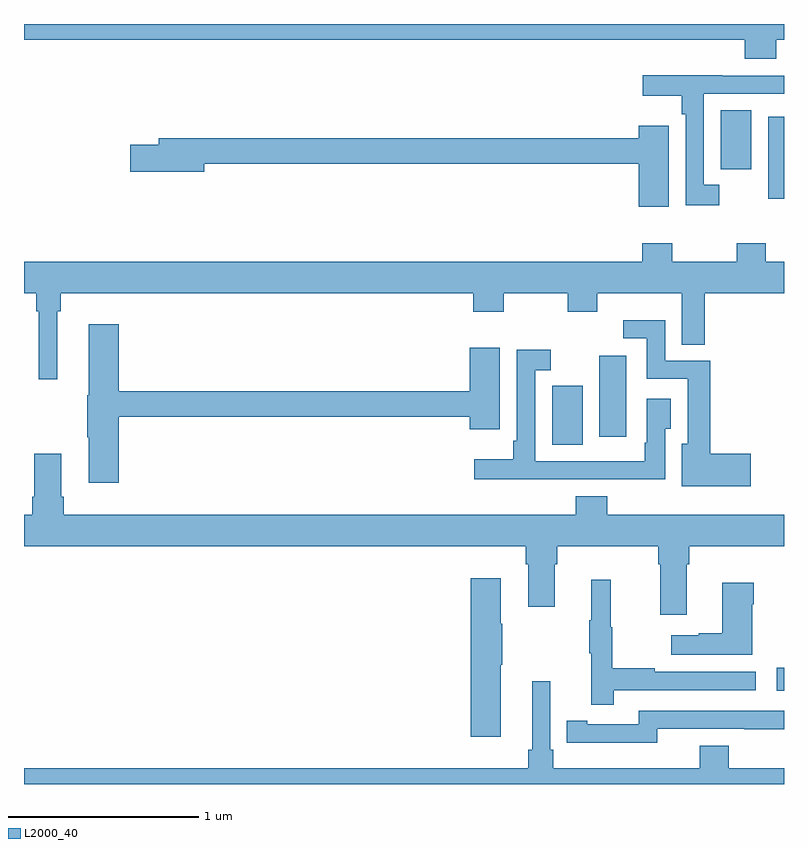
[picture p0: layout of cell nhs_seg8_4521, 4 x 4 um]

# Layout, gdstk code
import gdstk
lib = gdstk.Library(unit=1e-6, precision=1e-09)
def R(c, l, rs):  # rectangles x0, y0, x1, y1
    for r in rs: c.add(gdstk.rectangle(r[:2], r[2:], *l))
def P(c, l, *ps):  # polygons
    for p in ps: c.add(gdstk.Polygon(p, *l))
L2000_40 = (2000, 40)

nhs_seg8_4521 = lib.new_cell('nhs_seg8_4521')
R(nhs_seg8_4521, L2000_40, [(388.962,1130.391,389,1130.511), (387.779,1131.685,387.94,1131.996), (388.028,1131.728,388.171,1132.153), (388.916,1132.98,389,1133.413), (388.667,1133.136,388.828,1133.447)])
P(nhs_seg8_4521, L2000_40, [(388.958,1133.816),(389,1133.816),(389,1133.9),(385,1133.9),(385,1133.816),(388.793,1133.816),(388.793,1133.717),(388.958,1133.717)],
  [(388.66,1133.055),(388.578,1133.055),(388.578,1133.532),(389,1133.532),(389,1133.628),(388.675,1133.628),(388.675,1133.63),(388.257,1133.63),(388.257,1133.522),(388.462,1133.522),(388.462,1133.426),(388.482,1133.426),(388.482,1132.947),(388.66,1132.947)],
  [(388.393,1133.365),(388.235,1133.365),(388.235,1133.3),(385.709,1133.3),(385.709,1133.264),(385.56,1133.264),(385.56,1133.122),(385.948,1133.122),(385.948,1133.164),(388.235,1133.164),(388.235,1132.938),(388.393,1132.938)],
  [(385.174,1132.388),(385.193,1132.388),(385.193,1132.484),(387.365,1132.484),(387.365,1132.385),(387.525,1132.385),(387.525,1132.484),(387.862,1132.484),(387.862,1132.385),(388.017,1132.385),(388.017,1132.484),(388.463,1132.484),(388.463,1132.213),(388.582,1132.213),(388.582,1132.484),(389,1132.484),(389,1132.648),(388.905,1132.648),(388.905,1132.747),(388.75,1132.747),(388.75,1132.648),(388.413,1132.648),(388.413,1132.747),(388.253,1132.747),(388.253,1132.648),(385,1132.648),(385,1132.484),(385.064,1132.484),(385.064,1132.388),(385.077,1132.388),(385.077,1132.029),(385.174,1132.029)],
  [(388.825,1131.638),(388.612,1131.638),(388.612,1132.128),(388.374,1132.128),(388.374,1132.342),(388.155,1132.342),(388.155,1132.245),(388.278,1132.245),(388.278,1132.032),(388.493,1132.032),(388.493,1131.691),(388.463,1131.691),(388.463,1131.467),(388.825,1131.467)],
  [(385.499,1131.832),(387.347,1131.832),(387.347,1131.768),(387.505,1131.768),(387.505,1132.195),(387.347,1132.195),(387.347,1131.968),(385.499,1131.968),(385.499,1132.321),(385.34,1132.321),(385.34,1131.945),(385.333,1131.945),(385.333,1131.724),(385.34,1131.724),(385.34,1131.486),(385.499,1131.486)],
  [(387.787,1131.504),(388.153,1131.504),(388.153,1131.503),(388.374,1131.503),(388.374,1131.769),(388.405,1131.769),(388.405,1131.928),(388.278,1131.928),(388.278,1131.697),(388.266,1131.697),(388.266,1131.6),(387.69,1131.6),(387.69,1132.077),(387.772,1132.077),(387.772,1132.186),(387.594,1132.186),(387.594,1131.706),(387.574,1131.706),(387.574,1131.61),(387.369,1131.61),(387.369,1131.503),(387.787,1131.503)],
  [(388.489,1131.056),(388.502,1131.056),(388.502,1131.152),(389,1131.152),(389,1131.316),(388.07,1131.316),(388.07,1131.415),(387.905,1131.415),(387.905,1131.316),(385.208,1131.316),(385.208,1131.412),(385.195,1131.412),(385.195,1131.637),(385.055,1131.637),(385.055,1131.412),(385.043,1131.412),(385.043,1131.316),(385,1131.316),(385,1131.152),(387.641,1131.152),(387.641,1131.056),(387.653,1131.056),(387.653,1130.832),(387.793,1130.832),(387.793,1131.056),(387.806,1131.056),(387.806,1131.152),(388.337,1131.152),(388.337,1131.056),(388.349,1131.056),(388.349,1130.79),(388.489,1130.79)],
  [(387.508,1130.527),(387.516,1130.527),(387.516,1130.744),(387.508,1130.744),(387.508,1130.983),(387.35,1130.983),(387.35,1130.148),(387.508,1130.148)],
  [(388.103,1130.394),(388.852,1130.394),(388.852,1130.49),(388.319,1130.49),(388.319,1130.51),(388.096,1130.51),(388.096,1130.724),(388.088,1130.724),(388.088,1130.974),(387.986,1130.974),(387.986,1130.761),(387.975,1130.761),(387.975,1130.587),(387.986,1130.587),(387.986,1130.316),(388.103,1130.316)],
  [(388.834,1130.846),(388.842,1130.846),(388.842,1130.959),(388.676,1130.959),(388.676,1130.693),(388.55,1130.693),(388.55,1130.683),(388.407,1130.683),(388.407,1130.579),(388.834,1130.579)],
  [(389,1129.984),(388.709,1129.984),(388.709,1130.101),(388.556,1130.101),(388.556,1129.984),(387.785,1129.984),(387.785,1130.08),(387.771,1130.08),(387.771,1130.44),(387.674,1130.44),(387.674,1130.08),(387.655,1130.08),(387.655,1129.984),(385,1129.984),(385,1129.9),(389,1129.9)],
  [(388.332,1130.19),(388.792,1130.19),(388.792,1130.189),(389,1130.189),(389,1130.286),(388.236,1130.286),(388.236,1130.214),(387.964,1130.214),(387.964,1130.234),(387.856,1130.234),(387.856,1130.118),(387.964,1130.118),(387.964,1130.117),(388.332,1130.117)])

lib.write_gds('nhs_seg8_4521.gds')
